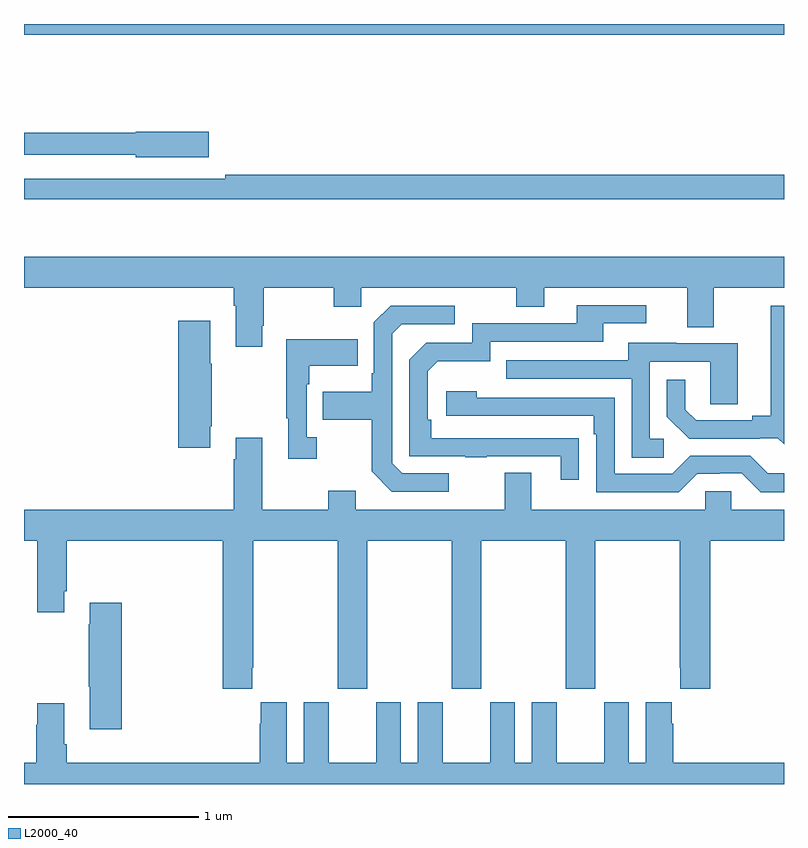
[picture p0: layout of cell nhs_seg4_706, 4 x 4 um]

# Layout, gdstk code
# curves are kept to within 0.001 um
import gdstk
lib = gdstk.Library(unit=1e-6, precision=1e-09)
def R(c, l, rs):  # rectangles x0, y0, x1, y1
    for r in rs: c.add(gdstk.rectangle(r[:2], r[2:], *l))
def P(c, l, *ps):  # polygons
    for p in ps: c.add(gdstk.Polygon(p, *l))
L2000_40 = (2000, 40)

nhs_seg4_706 = lib.new_cell('nhs_seg4_706')
R(nhs_seg4_706, L2000_40, [(147,772.844,151,772.9)])
P(nhs_seg4_706, L2000_40, [(147.973,772.334),(147.588,772.334),(147.588,772.328),(147,772.328),(147,772.212),(147.588,772.212),(147.588,772.199),(147.973,772.199)],
  [(151,772.106),(148.06,772.106),(148.06,772.086),(147,772.086),(147,771.978),(151,771.978)],
  [(148.255,771.313),(148.263,771.313),(148.263,771.512),(148.63,771.512),(148.63,771.413),(148.776,771.413),(148.776,771.512),(149.59,771.512),(149.59,771.413),(149.737,771.413),(149.737,771.512),(150.491,771.512),(150.491,771.304),(150.631,771.304),(150.631,771.512),(151,771.512),(151,771.676),(147,771.676),(147,771.512),(148.103,771.512),(148.103,771.416),(148.115,771.416),(148.115,771.201),(148.255,771.201)],
  [(149.921,770.72),(149.144,770.721),(149.144,770.818),(149.124,770.818),(149.124,771.072),(149.177,771.125),(149.454,771.125),(149.454,771.228),(150.049,771.228),(150.049,771.324),(150.274,771.324),(150.274,771.42),(149.909,771.42),(149.909,771.324),(149.358,771.324),(149.358,771.222),(149.118,771.222),(149.028,771.132),(149.028,770.625),(149.323,770.625),(149.323,770.62),(149.435,770.62),(149.435,770.625),(149.825,770.625),(149.825,770.502),(149.921,770.502)],
  [(151,771.417),(150.929,771.417),(150.929,770.837),(150.833,770.837),(150.833,770.814),(150.538,770.814),(150.481,770.871),(150.481,771.028),(150.384,771.028),(150.384,770.834),(150.5,770.718),(150.872,770.718),(150.872,770.721),(150.966,770.721),(151,770.687)],
  [(149.236,770.535),(148.992,770.535),(148.938,770.589),(148.938,771.27),(148.989,771.321),(149.266,771.321),(149.266,771.417),(148.929,771.417),(148.842,771.33),(148.842,771.061),(148.83,771.061),(148.83,770.965),(148.573,770.965),(148.573,770.818),(148.83,770.818),(148.83,770.545),(148.935,770.439),(149.236,770.439)],
  [(147.979,770.782),(147.987,770.782),(147.987,771.113),(147.979,771.113),(147.979,771.337),(147.812,771.337),(147.812,770.67),(147.979,770.67)],
  [(148.54,770.726),(148.488,770.726),(148.488,771.005),(148.501,771.005),(148.501,771.101),(148.757,771.101),(148.757,771.241),(148.38,771.241),(148.38,770.825),(148.391,770.825),(148.391,770.613),(148.54,770.613)],
  [(150.367,770.718),(150.294,770.718),(150.294,771.123),(150.612,771.123),(150.612,770.899),(150.757,770.899),(150.757,771.219),(150.433,771.219),(150.433,771.223),(150.179,771.223),(150.179,771.129),(149.539,771.129),(149.539,771.033),(150.198,771.033),(150.198,770.617),(150.367,770.617)],
  [(151,770.535),(150.915,770.535),(150.822,770.628),(150.507,770.628),(150.411,770.532),(150.108,770.532),(150.108,770.934),(149.384,770.934),(149.384,770.968),(149.223,770.968),(149.223,770.838),(149.999,770.838),(149.999,770.741),(150.012,770.741),(150.012,770.436),(150.447,770.436),(150.543,770.532),(150.662,770.532),(150.662,770.535),(150.777,770.535),(150.877,770.435),(151,770.435)],
  [(150.585,770.442),(150.585,770.344),(149.671,770.344),(149.671,770.539),(149.531,770.539),(149.531,770.344),(148.747,770.344),(148.747,770.443),(148.6,770.443),(148.6,770.344),(148.255,770.344),(148.255,770.722),(148.115,770.722),(148.115,770.609),(148.103,770.609),(148.103,770.344),(147,770.344),(147,770.18),(147.071,770.18),(147.071,769.803),(147.211,769.803),(147.211,769.915),(147.224,769.915),(147.224,770.18),(148.046,770.18),(148.046,769.401),(148.201,769.401),(148.201,769.513),(148.206,769.513),(148.206,770.18),(148.651,770.18),(148.651,769.401),(148.806,769.401),(148.806,770.18),(149.251,770.18),(149.251,769.401),(149.406,769.401),(149.406,770.18),(149.851,770.18),(149.851,769.401),(150.006,769.401),(150.006,770.18),(150.451,770.18),(150.451,769.513),(150.455,769.513),(150.455,769.401),(150.611,769.401),(150.611,770.18),(151,770.18),(151,770.344),(150.723,770.344),(150.723,770.442)],
  [(147.515,769.855),(147.347,769.855),(147.347,769.742),(147.34,769.742),(147.34,769.411),(147.347,769.411),(147.347,769.188),(147.515,769.188)],
  [(151,769.012),(150.416,769.012),(150.416,769.217),(150.409,769.217),(150.409,769.33),(150.272,769.33),(150.272,769.012),(150.184,769.012),(150.184,769.33),(150.053,769.33),(150.053,769.012),(149.803,769.012),(149.803,769.33),(149.672,769.33),(149.672,769.012),(149.584,769.012),(149.584,769.33),(149.453,769.33),(149.453,769.012),(149.203,769.012),(149.203,769.33),(149.072,769.33),(149.072,769.012),(148.984,769.012),(148.984,769.33),(148.853,769.33),(148.853,769.012),(148.603,769.012),(148.603,769.33),(148.472,769.33),(148.472,769.012),(148.384,769.012),(148.384,769.33),(148.247,769.33),(148.247,769.217),(148.241,769.217),(148.241,769.012),(147.224,769.012),(147.224,769.108),(147.211,769.108),(147.211,769.324),(147.071,769.324),(147.071,769.211),(147.064,769.211),(147.064,769.012),(147,769.012),(147,768.9),(151,768.9)])

lib.write_gds('nhs_seg4_706.gds')
